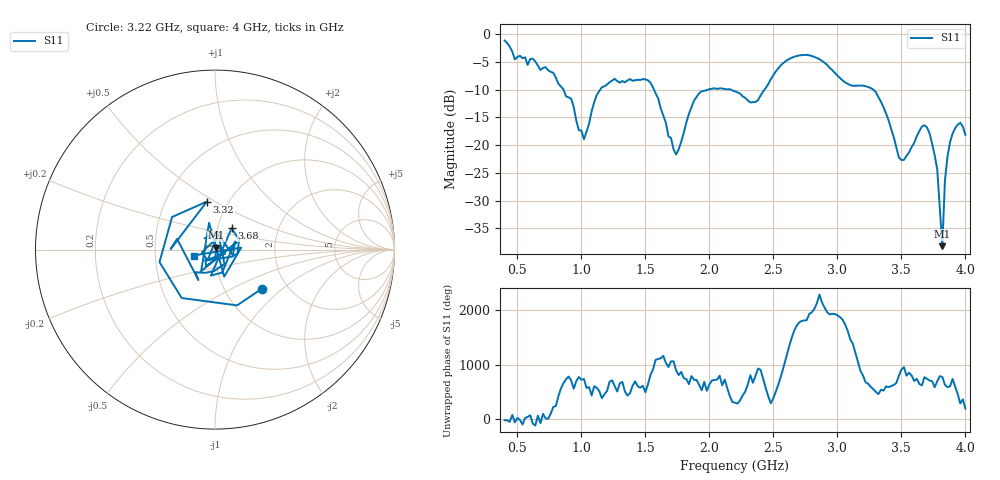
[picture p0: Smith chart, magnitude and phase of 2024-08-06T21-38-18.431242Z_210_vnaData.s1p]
!Created with skrf (http://scikit-rf.org).
# Hz S RI R 50.0
!freq ReS11 ImS11
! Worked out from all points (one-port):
!   181 points, 400 MHz to 4 GHz, reference 50 ohm
!   lowest |S11| = -38.2 dB at 3.82 GHz (marker M1), VSWR 1.02, Z = 50.7 + j1.05 ohm
!   |S11| at or under -10 dB: 860.4 MHz to 1.147 GHz (286.7 MHz wide, 28.6 % of centre); 1.567 GHz to 1.99 GHz (422.6 MHz wide, 23.8 % of centre); 3.281 GHz to end of sweep (the widest 3 of 4)
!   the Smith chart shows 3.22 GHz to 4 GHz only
!   S11 on the Smith chart (normalised r, x): 3.22 GHz: 1.48, -0.74; 3.32 GHz: 0.80, +0.46; 3.68 GHz: 1.17, +0.28; 4 GHz: 0.78, -0.05
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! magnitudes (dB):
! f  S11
! 400 MHz  -1.1
! 480 MHz  -4.5
! 620 MHz  -4.4
! 860 MHz  -10.0
! 1.02 GHz  -18.9
! 1.14 GHz  -10.2
! 1.3 GHz  -8.8
! 1.54 GHz  -8.8
! 1.72 GHz  -20.8
! 1.76 GHz  -20.8
! 1.92 GHz  -10.6
! 2.2 GHz  -10.3
! 2.36 GHz  -12.2
! 2.66 GHz  -4.1
! 2.86 GHz  -4.5
! 3.1 GHz  -9.2
! 3.22 GHz  -9.4
! 3.32 GHz  -11.3
! 3.48 GHz  -22.2
! 3.56 GHz  -21.3
! 3.68 GHz  -16.4
! 3.72 GHz  -17.9
! 3.78 GHz  -24.4
! 3.82 GHz  -38.2
! 3.84 GHz  -26.4
! 3.88 GHz  -19.5
! 3.96 GHz  -16.0
! 4 GHz  -18.1
